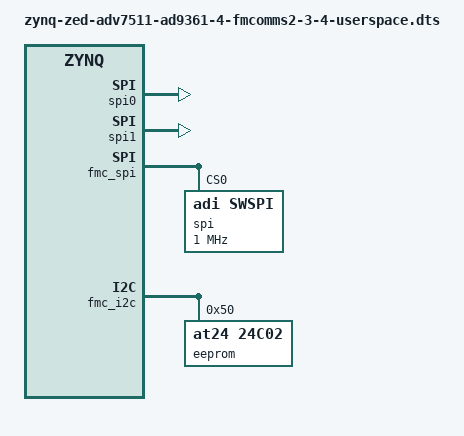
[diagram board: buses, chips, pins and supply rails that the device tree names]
// SPDX-License-Identifier: GPL-2.0
/*
 * Analog Devices AD-FMCOMMS2-EBZ/AD-FMCOMMS3-EBZ
 * https://wiki.analog.com/resources/eval/user-guides/ad-fmcomms2-ebz
 * https://wiki.analog.com/resources/eval/user-guides/ad-fmcomms3-ebz
 *
 * hdl_project: <fmcomms2/zed>
 * board_revision: <>
 *
 * Copyright (C) 2014-2019 Analog Devices Inc.
 */
/dts-v1/;

#include "zynq-zed.dtsi"
#include "zynq-zed-adv7511.dtsi"

&spi0 {
	status = "okay";
};

&spi1 {
	status = "okay";
};

#define fmc_spi spi0
#define pmod_spi spi1

&fmc_spi {
	spi@0 {
		compatible = "adi,swspi";
		spi-cpha;
		reg = <0x0>;
		spi-max-frequency = <1000000>;
	};
};

&fpga_axi {
	fmc_i2c: i2c@41620000 {
		compatible = "xlnx,axi-iic-1.01.b", "xlnx,xps-iic-2.00.a";
		reg = <0x41620000 0x10000>;
		interrupt-parent = <&intc>;
		interrupts = <0 55 0x4>;
		clocks = <&clkc 15>;
		clock-names = "pclk";

		#size-cells = <0>;
		#address-cells = <1>;

		eeprom@50 {
			compatible = "at24,24c02";
			reg = <0x50>;
		};
	};

	ad9361_rx@79020000 {
		compatible = "dmem-uio";
		reg = <0x79020000 0x6000>;
	};

	ad9361_tx@79024000 {
		compatible = "dmem-uio";
		reg = <0x79024000 0x2000>;
	};

	rx_dma@7c400000 {
		compatible = "dmem-uio";
		reg = <0x7c400000 0x10000>;
		uio,number-of-dynamic-regions = <1>;
		uio,dynamic-regions-sizes = <262144>;
	};

	tx_dma@7c420000 {
		compatible = "dmem-uio";
		reg = <0x7c420000 0x10000>;
		uio,number-of-dynamic-regions = <1>;
		uio,dynamic-regions-sizes = <262144>;
	};
};

